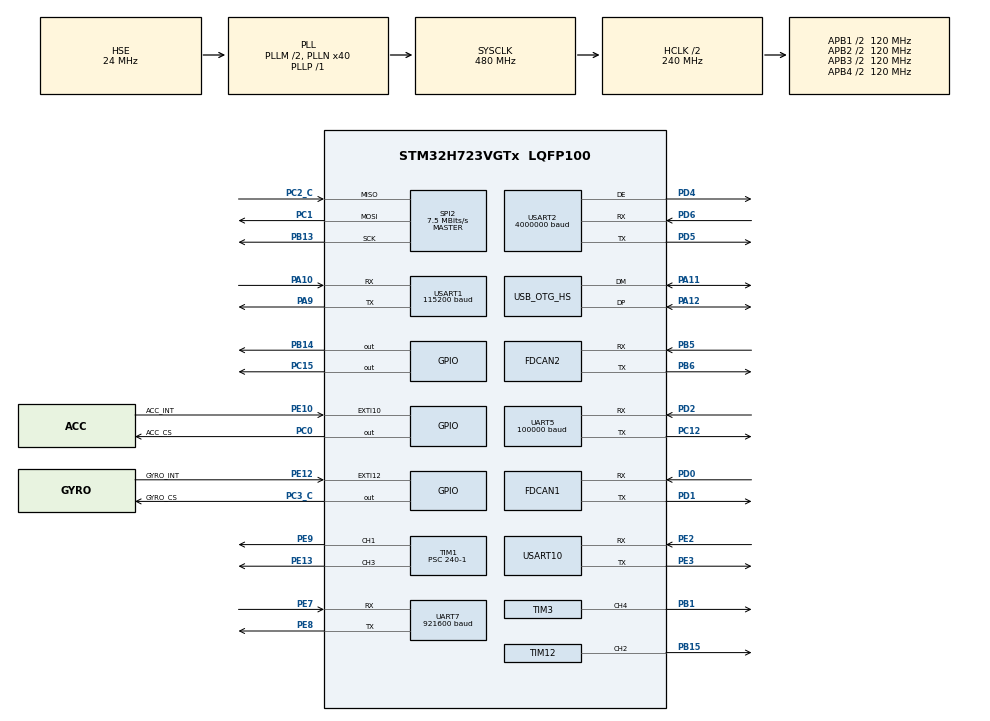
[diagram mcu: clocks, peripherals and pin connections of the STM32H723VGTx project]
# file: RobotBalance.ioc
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CORTEX_M7.default_mode_Activation=1
Dma.Request0=UART5_RX
Dma.Request1=UART7_RX
Dma.Request2=USART2_RX
Dma.Request3=SPI2_RX
Dma.Request4=SPI2_TX
Dma.Request5=USART10_RX
Dma.Request6=USART10_TX
Dma.Request7=USART1_RX
Dma.Request8=USART2_TX
Dma.SPI2_RX.3.Direction=DMA_PERIPH_TO_MEMORY
Dma.SPI2_RX.3.EventEnable=DISABLE
Dma.SPI2_RX.3.FIFOMode=DMA_FIFOMODE_DISABLE
Dma.SPI2_RX.3.Instance=DMA1_Stream0
Dma.SPI2_RX.3.MemDataAlignment=DMA_MDATAALIGN_BYTE
Dma.SPI2_RX.3.MemInc=DMA_MINC_ENABLE
Dma.SPI2_RX.3.Mode=DMA_NORMAL
Dma.SPI2_RX.3.PeriphDataAlignment=DMA_PDATAALIGN_BYTE
Dma.SPI2_RX.3.PeriphInc=DMA_PINC_DISABLE
Dma.SPI2_RX.3.Polarity=HAL_DMAMUX_REQ_GEN_RISING
Dma.SPI2_RX.3.Priority=DMA_PRIORITY_VERY_HIGH
Dma.SPI2_RX.3.RequestNumber=1
Dma.SPI2_RX.3.SignalID=NONE
Dma.SPI2_RX.3.SyncEnable=DISABLE
Dma.SPI2_RX.3.SyncPolarity=HAL_DMAMUX_SYNC_NO_EVENT
Dma.SPI2_RX.3.SyncRequestNumber=1
Dma.SPI2_RX.3.SyncSignalID=NONE
Dma.SPI2_TX.4.Direction=DMA_MEMORY_TO_PERIPH
Dma.SPI2_TX.4.EventEnable=DISABLE
Dma.SPI2_TX.4.FIFOMode=DMA_FIFOMODE_DISABLE
Dma.SPI2_TX.4.Instance=DMA1_Stream1
Dma.SPI2_TX.4.MemDataAlignment=DMA_MDATAALIGN_BYTE
Dma.SPI2_TX.4.MemInc=DMA_MINC_ENABLE
Dma.SPI2_TX.4.Mode=DMA_NORMAL
Dma.SPI2_TX.4.PeriphDataAlignment=DMA_PDATAALIGN_BYTE
Dma.SPI2_TX.4.PeriphInc=DMA_PINC_DISABLE
Dma.SPI2_TX.4.Polarity=HAL_DMAMUX_REQ_GEN_RISING
Dma.SPI2_TX.4.Priority=DMA_PRIORITY_HIGH
Dma.SPI2_TX.4.RequestNumber=1
Dma.SPI2_TX.4.SignalID=NONE
Dma.SPI2_TX.4.SyncEnable=DISABLE
Dma.SPI2_TX.4.SyncPolarity=HAL_DMAMUX_SYNC_NO_EVENT
Dma.SPI2_TX.4.SyncRequestNumber=1
Dma.SPI2_TX.4.SyncSignalID=NONE
Dma.UART5_RX.0.Direction=DMA_PERIPH_TO_MEMORY
Dma.UART5_RX.0.EventEnable=DISABLE
Dma.UART5_RX.0.FIFOMode=DMA_FIFOMODE_DISABLE
Dma.UART5_RX.0.Instance=DMA1_Stream3
Dma.UART5_RX.0.MemDataAlignment=DMA_MDATAALIGN_BYTE
Dma.UART5_RX.0.MemInc=DMA_MINC_ENABLE
Dma.UART5_RX.0.Mode=DMA_CIRCULAR
Dma.UART5_RX.0.PeriphDataAlignment=DMA_PDATAALIGN_BYTE
Dma.UART5_RX.0.PeriphInc=DMA_PINC_DISABLE
Dma.UART5_RX.0.Polarity=HAL_DMAMUX_REQ_GEN_RISING
Dma.UART5_RX.0.Priority=DMA_PRIORITY_VERY_HIGH
Dma.UART5_RX.0.RequestNumber=1
Dma.UART5_RX.0.SignalID=NONE
Dma.UART5_RX.0.SyncEnable=DISABLE
Dma.UART5_RX.0.SyncPolarity=HAL_DMAMUX_SYNC_NO_EVENT
Dma.UART5_RX.0.SyncRequestNumber=1
Dma.UART5_RX.0.SyncSignalID=NONE
Dma.UART7_RX.1.Direction=DMA_PERIPH_TO_MEMORY
Dma.UART7_RX.1.EventEnable=DISABLE
Dma.UART7_RX.1.FIFOMode=DMA_FIFOMODE_DISABLE
Dma.UART7_RX.1.Instance=DMA1_Stream4
Dma.UART7_RX.1.MemDataAlignment=DMA_MDATAALIGN_BYTE
Dma.UART7_RX.1.MemInc=DMA_MINC_ENABLE
Dma.UART7_RX.1.Mode=DMA_CIRCULAR
Dma.UART7_RX.1.PeriphDataAlignment=DMA_PDATAALIGN_BYTE
Dma.UART7_RX.1.PeriphInc=DMA_PINC_DISABLE
Dma.UART7_RX.1.Polarity=HAL_DMAMUX_REQ_GEN_RISING
Dma.UART7_RX.1.Priority=DMA_PRIORITY_VERY_HIGH
Dma.UART7_RX.1.RequestNumber=1
Dma.UART7_RX.1.SignalID=NONE
Dma.UART7_RX.1.SyncEnable=DISABLE
Dma.UART7_RX.1.SyncPolarity=HAL_DMAMUX_SYNC_NO_EVENT
Dma.UART7_RX.1.SyncRequestNumber=1
Dma.UART7_RX.1.SyncSignalID=NONE
Dma.USART10_RX.5.Direction=DMA_PERIPH_TO_MEMORY
Dma.USART10_RX.5.EventEnable=DISABLE
Dma.USART10_RX.5.FIFOMode=DMA_FIFOMODE_DISABLE
Dma.USART10_RX.5.Instance=DMA1_Stream6
Dma.USART10_RX.5.MemDataAlignment=DMA_MDATAALIGN_BYTE
Dma.USART10_RX.5.MemInc=DMA_MINC_ENABLE
Dma.USART10_RX.5.Mode=DMA_NORMAL
Dma.USART10_RX.5.PeriphDataAlignment=DMA_PDATAALIGN_BYTE
Dma.USART10_RX.5.PeriphInc=DMA_PINC_DISABLE
Dma.USART10_RX.5.Polarity=HAL_DMAMUX_REQ_GEN_RISING
Dma.USART10_RX.5.Priority=DMA_PRIORITY_HIGH
Dma.USART10_RX.5.RequestNumber=1
Dma.USART10_RX.5.SignalID=NONE
Dma.USART10_RX.5.SyncEnable=DISABLE
Dma.USART10_RX.5.SyncPolarity=HAL_DMAMUX_SYNC_NO_EVENT
Dma.USART10_RX.5.SyncRequestNumber=1
Dma.USART10_RX.5.SyncSignalID=NONE
Dma.USART10_TX.6.Direction=DMA_MEMORY_TO_PERIPH
Dma.USART10_TX.6.EventEnable=DISABLE
Dma.USART10_TX.6.FIFOMode=DMA_FIFOMODE_DISABLE
Dma.USART10_TX.6.Instance=DMA1_Stream7
Dma.USART10_TX.6.MemDataAlignment=DMA_MDATAALIGN_BYTE
Dma.USART10_TX.6.MemInc=DMA_MINC_ENABLE
Dma.USART10_TX.6.Mode=DMA_NORMAL
Dma.USART10_TX.6.PeriphDataAlignment=DMA_PDATAALIGN_BYTE
Dma.USART10_TX.6.PeriphInc=DMA_PINC_DISABLE
Dma.USART10_TX.6.Polarity=HAL_DMAMUX_REQ_GEN_RISING
Dma.USART10_TX.6.Priority=DMA_PRIORITY_HIGH
Dma.USART10_TX.6.RequestNumber=1
Dma.USART10_TX.6.SignalID=NONE
Dma.USART10_TX.6.SyncEnable=DISABLE
Dma.USART10_TX.6.SyncPolarity=HAL_DMAMUX_SYNC_NO_EVENT
Dma.USART10_TX.6.SyncRequestNumber=1
Dma.USART10_TX.6.SyncSignalID=NONE
Dma.USART1_RX.7.Direction=DMA_PERIPH_TO_MEMORY
Dma.USART1_RX.7.EventEnable=DISABLE
Dma.USART1_RX.7.FIFOMode=DMA_FIFOMODE_DISABLE
Dma.USART1_RX.7.Instance=DMA2_Stream0
Dma.USART1_RX.7.MemDataAlignment=DMA_MDATAALIGN_BYTE
Dma.USART1_RX.7.MemInc=DMA_MINC_ENABLE
Dma.USART1_RX.7.Mode=DMA_NORMAL
Dma.USART1_RX.7.PeriphDataAlignment=DMA_PDATAALIGN_BYTE
Dma.USART1_RX.7.PeriphInc=DMA_PINC_DISABLE
Dma.USART1_RX.7.Polarity=HAL_DMAMUX_REQ_GEN_RISING
Dma.USART1_RX.7.Priority=DMA_PRIORITY_HIGH
Dma.USART1_RX.7.RequestNumber=1
Dma.USART1_RX.7.SignalID=NONE
Dma.USART1_RX.7.SyncEnable=DISABLE
Dma.USART1_RX.7.SyncPolarity=HAL_DMAMUX_SYNC_NO_EVENT
Dma.USART1_RX.7.SyncRequestNumber=1
Dma.USART1_RX.7.SyncSignalID=NONE
Dma.USART2_RX.2.Direction=DMA_PERIPH_TO_MEMORY
Dma.USART2_RX.2.EventEnable=DISABLE
Dma.USART2_RX.2.FIFOMode=DMA_FIFOMODE_DISABLE
Dma.USART2_RX.2.Instance=DMA1_Stream2
Dma.USART2_RX.2.MemDataAlignment=DMA_MDATAALIGN_BYTE
Dma.USART2_RX.2.MemInc=DMA_MINC_ENABLE
Dma.USART2_RX.2.Mode=DMA_NORMAL
Dma.USART2_RX.2.PeriphDataAlignment=DMA_PDATAALIGN_BYTE
Dma.USART2_RX.2.PeriphInc=DMA_PINC_DISABLE
Dma.USART2_RX.2.Polarity=HAL_DMAMUX_REQ_GEN_RISING
Dma.USART2_RX.2.Priority=DMA_PRIORITY_VERY_HIGH
Dma.USART2_RX.2.RequestNumber=1
Dma.USART2_RX.2.SignalID=NONE
Dma.USART2_RX.2.SyncEnable=DISABLE
Dma.USART2_RX.2.SyncPolarity=HAL_DMAMUX_SYNC_NO_EVENT
Dma.USART2_RX.2.SyncRequestNumber=1
Dma.USART2_RX.2.SyncSignalID=NONE
Dma.USART2_TX.8.Direction=DMA_MEMORY_TO_PERIPH
Dma.USART2_TX.8.EventEnable=DISABLE
Dma.USART2_TX.8.FIFOMode=DMA_FIFOMODE_DISABLE
Dma.USART2_TX.8.Instance=DMA1_Stream5
Dma.USART2_TX.8.MemDataAlignment=DMA_MDATAALIGN_BYTE
Dma.USART2_TX.8.MemInc=DMA_MINC_ENABLE
Dma.USART2_TX.8.Mode=DMA_NORMAL
Dma.USART2_TX.8.PeriphDataAlignment=DMA_PDATAALIGN_BYTE
Dma.USART2_TX.8.PeriphInc=DMA_PINC_DISABLE
Dma.USART2_TX.8.Polarity=HAL_DMAMUX_REQ_GEN_RISING
Dma.USART2_TX.8.Priority=DMA_PRIORITY_HIGH
Dma.USART2_TX.8.RequestNumber=1
Dma.USART2_TX.8.SignalID=NONE
Dma.USART2_TX.8.SyncEnable=DISABLE
Dma.USART2_TX.8.SyncPolarity=HAL_DMAMUX_SYNC_NO_EVENT
Dma.USART2_TX.8.SyncRequestNumber=1
Dma.USART2_TX.8.SyncSignalID=NONE
FDCAN1.CalculateBaudRateNominal=1000000
FDCAN1.CalculateTimeBitNominal=1000
FDCAN1.CalculateTimeQuantumNominal=200.0
FDCAN1.NominalPrescaler=24
FDCAN1.RxFifo0ElmtsNbr=32
FDCAN1.StdFiltersNbr=1
FDCAN1.TxFifoQueueElmtsNbr=32
FDCAN2.CalculateBaudRateNominal=1000000
FDCAN2.CalculateTimeBitNominal=1000
FDCAN2.CalculateTimeQuantumNominal=200.0
FDCAN2.MessageRAMOffset=0x406
FDCAN2.NominalPrescaler=24
FDCAN2.RxFifo0ElmtsNbr=32
FDCAN2.StdFiltersNbr=1
FDCAN2.TxFifoQueueElmtsNbr=32
FREERTOS.Tasks01=defaultTask,24,128,StartDefaultTask,Default,NULL,Dynamic,NULL,NULL;MotorTask,40,512,Motor_Task,As weak,NULL,Dynamic,NULL,NULL;ChassisTask,40,512,Chassis_Task,As weak,NULL,Dynamic,NULL,NULL;IMUTask,40,512,IMU_Task,As weak,NULL,Dynamic,NULL,NULL;UITask,16,512,UI_Task,As weak,NULL,Dynamic,NULL,NULL;VisionTASK,16,512,Vision_TASK,As weak,NULL,Dynamic,NULL,NULL;GimbalTask,40,512,Gimbal_Task,As weak,NULL,Dynamic,NULL,NULL
FREERTOS.configGENERATE_RUN_TIME_STATS=1
FREERTOS.configUSE_STATS_FORMATTING_FUNCTIONS=1
Mcu.Family=STM32H7
Mcu.Name=STM32H723VGTx
Mcu.Package=LQFP100
NVIC.DMA1_Stream0_IRQn=true\:5\:0\:false\:false\:true\:true\:false\:true\:true
NVIC.DMA1_Stream1_IRQn=true\:5\:0\:false\:false\:true\:true\:false\:true\:true
NVIC.DMA1_Stream2_IRQn=true\:5\:0\:false\:false\:true\:true\:false\:true\:true
NVIC.DMA1_Stream3_IRQn=true\:5\:0\:false\:false\:true\:true\:false\:true\:true
NVIC.DMA1_Stream4_IRQn=true\:5\:0\:false\:false\:true\:true\:false\:true\:true
NVIC.DMA1_Stream5_IRQn=true\:5\:0\:false\:false\:true\:true\:false\:true\:true
NVIC.DMA1_Stream6_IRQn=true\:5\:0\:false\:false\:true\:true\:false\:true\:true
NVIC.DMA1_Stream7_IRQn=true\:5\:0\:false\:false\:true\:true\:false\:true\:true
NVIC.DMA2_Stream0_IRQn=true\:5\:0\:false\:false\:true\:true\:false\:true\:true
NVIC.FDCAN1_IT0_IRQn=true\:5\:0\:false\:false\:true\:true\:true\:true\:true
NVIC.FDCAN2_IT0_IRQn=true\:5\:0\:false\:false\:true\:true\:true\:true\:true
NVIC.OTG_HS_IRQn=true\:5\:0\:false\:false\:true\:true\:true\:true\:true
NVIC.PriorityGroup=NVIC_PRIORITYGROUP_4
NVIC.SPI2_IRQn=true\:5\:0\:false\:false\:true\:true\:false\:true\:true
NVIC.TIM2_IRQn=true\:5\:0\:false\:false\:true\:true\:true\:true\:true
NVIC.TIM8_UP_TIM13_IRQn=true\:15\:0\:false\:false\:true\:false\:false\:true\:true
NVIC.TimeBase=TIM8_UP_TIM13_IRQn
NVIC.TimeBaseIP=TIM8
NVIC.UART5_IRQn=true\:5\:0\:false\:false\:true\:true\:true\:true\:true
NVIC.UART7_IRQn=true\:5\:0\:false\:false\:true\:true\:true\:true\:true
NVIC.USART10_IRQn=true\:5\:0\:false\:false\:true\:true\:true\:true\:true
NVIC.USART1_IRQn=true\:5\:0\:false\:false\:true\:true\:true\:true\:true
NVIC.USART2_IRQn=true\:5\:0\:true\:false\:true\:true\:true\:true\:true
PA10.GPIO_Speed=GPIO_SPEED_FREQ_VERY_HIGH
PA10.Mode=Asynchronous
PA10.Signal=USART1_RX
PA11.Mode=Device_Only_FS
PA11.Signal=USB_OTG_HS_DM
PA12.Mode=Device_Only_FS
PA12.Signal=USB_OTG_HS_DP
PA13(JTMS/SWDIO).Mode=Serial_Wire
PA13(JTMS/SWDIO).Signal=DEBUG_JTMS-SWDIO
PA14(JTCK/SWCLK).Mode=Serial_Wire
PA14(JTCK/SWCLK).Signal=DEBUG_JTCK-SWCLK
PA9.GPIO_Speed=GPIO_SPEED_FREQ_VERY_HIGH
PA9.Mode=Asynchronous
PA9.Signal=USART1_TX
PB1.Signal=S_TIM3_CH4
PB13.GPIO_Speed=GPIO_SPEED_FREQ_VERY_HIGH
PB13.Mode=Full_Duplex_Master
PB13.Signal=SPI2_SCK
PB14.Signal=GPIO_Output
PB15.Signal=S_TIM12_CH2
PB5.Mode=FDCAN_Activate
PB5.Signal=FDCAN2_RX
PB6.Mode=FDCAN_Activate
PB6.Signal=FDCAN2_TX
PC0.GPIO_Label=ACC_CS
PC0.GPIO_Speed=GPIO_SPEED_FREQ_VERY_HIGH
PC0.PinState=GPIO_PIN_SET
PC0.Signal=GPIO_Output
PC1.GPIO_Speed=GPIO_SPEED_FREQ_VERY_HIGH
PC1.Mode=Full_Duplex_Master
PC1.Signal=SPI2_MOSI
PC12.Mode=Multiprocessor_communication
PC12.Signal=UART5_TX
PC15-OSC32_OUT.PinState=GPIO_PIN_SET
PC15-OSC32_OUT.Signal=GPIO_Output
PC2_C.GPIO_Speed=GPIO_SPEED_FREQ_VERY_HIGH
PC2_C.Mode=Full_Duplex_Master
PC2_C.Signal=SPI2_MISO
PC3_C.GPIO_Label=GYRO_CS
PC3_C.GPIO_Speed=GPIO_SPEED_FREQ_VERY_HIGH
PC3_C.PinState=GPIO_PIN_SET
PC3_C.Signal=GPIO_Output
PD0.Mode=FDCAN_Activate
PD0.Signal=FDCAN1_RX
PD1.Mode=FDCAN_Activate
PD1.Signal=FDCAN1_TX
PD2.GPIO_PuPd=GPIO_PULLUP
PD2.GPIO_Speed=GPIO_SPEED_FREQ_VERY_HIGH
PD2.Mode=Multiprocessor_communication
PD2.Signal=UART5_RX
PD4.GPIO_Speed=GPIO_SPEED_FREQ_VERY_HIGH
PD4.Mode=Hardware Flow Control (RS485)
PD4.Signal=USART2_DE
PD5.GPIO_Speed=GPIO_SPEED_FREQ_VERY_HIGH
PD5.Mode=Asynchronous
PD5.Signal=USART2_TX
PD6.GPIO_Speed=GPIO_SPEED_FREQ_VERY_HIGH
PD6.Mode=Asynchronous
PD6.Signal=USART2_RX
PE10.GPIO_Label=ACC_INT
PE10.Signal=GPXTI10
PE12.GPIO_Label=GYRO_INT
PE12.Signal=GPXTI12
PE13.GPIO_PuPd=GPIO_NOPULL
PE13.GPIO_Speed=GPIO_SPEED_FREQ_LOW
PE13.Signal=S_TIM1_CH3
PE2.GPIO_Speed=GPIO_SPEED_FREQ_VERY_HIGH
PE2.Mode=Asynchronous
PE2.Signal=USART10_RX
PE3.GPIO_Speed=GPIO_SPEED_FREQ_VERY_HIGH
PE3.Mode=Asynchronous
PE3.Signal=USART10_TX
PE7.GPIO_PuPd=GPIO_PULLUP
PE7.GPIO_Speed=GPIO_SPEED_FREQ_VERY_HIGH
PE7.Mode=Asynchronous
PE7.Signal=UART7_RX
PE8.GPIO_Speed=GPIO_SPEED_FREQ_VERY_HIGH
PE8.Mode=Asynchronous
PE8.Signal=UART7_TX
PE9.GPIO_PuPd=GPIO_NOPULL
PE9.GPIO_Speed=GPIO_SPEED_FREQ_LOW
PE9.Signal=S_TIM1_CH1
PH0-OSC_IN.Mode=HSE-External-Oscillator
PH0-OSC_IN.Signal=RCC_OSC_IN
PH1-OSC_OUT.Mode=HSE-External-Oscillator
PH1-OSC_OUT.Signal=RCC_OSC_OUT
ProjectManager.HeapSize=0x2000
ProjectManager.StackSize=0x4000
ProjectManager.TargetToolchain=MDK-ARM V5.32
RCC.ADCFreq_Value=48375000
RCC.APB1Freq_Value=120000000
RCC.APB2Freq_Value=120000000
RCC.APB3Freq_Value=120000000
RCC.APB4Freq_Value=120000000
RCC.CortexFreq_Value=480000000
RCC.D1PPRE=RCC_APB3_DIV2
RCC.D2PPRE1=RCC_APB1_DIV2
RCC.D2PPRE2=RCC_APB2_DIV2
RCC.D3PPRE=RCC_APB4_DIV2
RCC.DIVM1=2
RCC.DIVN1=40
RCC.DIVP1=1
RCC.DIVQ1=4
RCC.HCLKFreq_Value=240000000
RCC.HPRE=RCC_HCLK_DIV2
RCC.HSE_VALUE=24000000
RCC.PLLSourceVirtual=RCC_PLLSOURCE_HSE
RCC.SYSCLKFreq_VALUE=480000000
RCC.SYSCLKSource=RCC_SYSCLKSOURCE_PLLCLK
RCC.USBCLockSelection=RCC_USBCLKSOURCE_HSI48
RCC.USBFreq_Value=48000000
SH.S_TIM12_CH2.0=TIM12_CH2,PWM Generation2 CH2
SH.S_TIM1_CH1.0=TIM1_CH1,PWM Generation1 CH1
SH.S_TIM1_CH3.0=TIM1_CH3,PWM Generation3 CH3
SH.S_TIM3_CH4.0=TIM3_CH4,PWM Generation4 CH4
SPI2.BaudRatePrescaler=SPI_BAUDRATEPRESCALER_16
SPI2.CLKPhase=SPI_PHASE_2EDGE
SPI2.CLKPolarity=SPI_POLARITY_HIGH
SPI2.CalculateBaudRate=7.5 MBits/s
SPI2.DataSize=SPI_DATASIZE_8BIT
SPI2.Direction=SPI_DIRECTION_2LINES
SPI2.Mode=SPI_MODE_MASTER
SPI2.VirtualType=VM_MASTER
STMicroelectronics.X-CUBE-ALGOBUILD.1.3.0.LibraryCcDSPOoLibraryJjDSPOoLibrary=true
TIM1.Channel-PWM\ Generation1\ CH1=TIM_CHANNEL_1
TIM1.Channel-PWM\ Generation3\ CH3=TIM_CHANNEL_3
TIM1.Period=20000-1
TIM1.Prescaler=240-1
TIM1.Pulse-PWM\ Generation1\ CH1=888
TIM1.Pulse-PWM\ Generation3\ CH3=1111
TIM12.Channel-PWM\ Generation2\ CH2=TIM_CHANNEL_2
TIM12.Period=2000-1
TIM12.Prescaler=24-1
TIM12.Pulse-PWM\ Generation2\ CH2=1000
TIM2.AutoReloadPreload=TIM_AUTORELOAD_PRELOAD_ENABLE
TIM2.Period=99
TIM2.Prescaler=479
TIM3.AutoReloadPreload=TIM_AUTORELOAD_PRELOAD_ENABLE
TIM3.Channel-PWM\ Generation4\ CH4=TIM_CHANNEL_4
TIM3.Period=10000-1
TIM3.Prescaler=24-1
UART5.BaudRate=100000
UART5.Parity=PARITY_EVEN
UART5.StopBits=UART_STOPBITS_2
UART5.WordLength=WORDLENGTH_9B
UART7.BaudRate=921600
USART1.BaudRate=115200
USART1.VirtualMode-Asynchronous=VM_ASYNC
USART10.VirtualMode=VM_ASYNC
USART2.BaudRate=4000000
USART2.OverSampling=UART_OVERSAMPLING_16
USART2.VirtualMode-Asynchronous=VM_ASYNC
USART2.VirtualMode-Hardware\ Flow\ Control\ (RS485)=VM_ASYNC
USB_DEVICE.CLASS_NAME_HS=CDC
USB_DEVICE.VirtualMode=Cdc
USB_DEVICE.VirtualModeHS=Cdc_HS
USB_OTG_HS.VirtualMode-Device_Only_FS=Device_Only_FS
VP_FREERTOS_VS_CMSIS_V2.Mode=CMSIS_V2
VP_MEMORYMAP_VS_MEMORYMAP.Mode=CurAppReg
VP_STMicroelectronics.X-CUBE-ALGOBUILD_VS_DSPOoLibraryJjLibrary_1.3.0_1.3.0.Mode=DSPOoLibraryJjLibrary
VP_SYS_VS_tim8.Mode=TIM8
VP_TIM2_VS_ClockSourceINT.Mode=Internal
VP_USB_DEVICE_VS_USB_DEVICE_CDC_HS.Mode=CDC_HS
board=custom

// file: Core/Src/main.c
/* USER CODE BEGIN Header */
/**
  ******************************************************************************
  * @file           : main.c
  * @brief          : Main program body
  ******************************************************************************
  * @attention
  *
  * Copyright (c) 2024 STMicroelectronics.
  * All rights reserved.
  *
  * This software is licensed under terms that can be found in the LICENSE file
  * in the root directory of this software component.
  * If no LICENSE file comes with this software, it is provided AS-IS.
  *
  ******************************************************************************
  */
/* USER CODE END Header */
#include "main.h"
#include "cmsis_os.h"
#include "dma.h"
#include "fdcan.h"
#include "memorymap.h"
#include "spi.h"
#include "tim.h"
#include "usart.h"
#include "usb_device.h"
#include "gpio.h"

void SystemClock_Config(void);
static void MPU_Config(void);
void MX_FREERTOS_Init(void);

int main(void)
{

  /* MPU Configuration--------------------------------------------------------*/
  MPU_Config();

  /* MCU Configuration--------------------------------------------------------*/

  /* Reset of all peripherals, Initializes the Flash interface and the Systick. */
  HAL_Init();

  /* Configure the system clock */
  SystemClock_Config();

  /* Initialize all configured peripherals */
  MX_GPIO_Init();
  MX_DMA_Init();
  MX_FDCAN2_Init();
  MX_USART2_UART_Init();
  MX_TIM12_Init();
  MX_USART1_UART_Init();
  MX_TIM2_Init();
  MX_UART5_Init();
  MX_FDCAN1_Init();
  MX_UART7_Init();
  MX_SPI2_Init();
  MX_TIM3_Init();
  MX_USART10_UART_Init();
  MX_TIM1_Init();
  /* USER CODE BEGIN 2 */
  BspUart_Init();
  MX_USB_DEVICE_Init();
	can_bsp_init();
	DWT_Init(480);
  Servo_Init();

  while (BMI088_init(&hspi2, 0) != BMI088_NO_ERROR)
	{
	  ;
	}

	Start_LED_remind();
	Start_Buzzer_remind();

  Close_Hatch();
 while((RC_Rx.CH1>-550)||(RC_Rx.CH3>-550))
	HAL_Delay(5);
	while(!((RC_Rx.CH1==0)&&(RC_Rx.CH3==0)))
	HAL_Delay(5);

  Start_Buzzer_remind();
  /* USER CODE END 2 */

  /* Init scheduler */
  osKernelInitialize();

  /* Call init function for freertos objects (in cmsis_os2.c) */
  MX_FREERTOS_Init();

  /* Start scheduler */
  osKernelStart();

  /* We should never get here as control is now taken by the scheduler */

  /* Infinite loop */
  while (1)
  {

  }
}

void SystemClock_Config(void)
{
  RCC_OscInitTypeDef RCC_OscInitStruct = {0};
  RCC_ClkInitTypeDef RCC_ClkInitStruct = {0};

  /** Supply configuration update enable
  */
  HAL_PWREx_ConfigSupply(PWR_LDO_SUPPLY);

  /** Configure the main internal regulator output voltage
  */
  __HAL_PWR_VOLTAGESCALING_CONFIG(PWR_REGULATOR_VOLTAGE_SCALE0);

  while(!__HAL_PWR_GET_FLAG(PWR_FLAG_VOSRDY)) {}

  /** Initializes the RCC Oscillators according to the specified parameters
  * in the RCC_OscInitTypeDef structure.
  */
  RCC_OscInitStruct.OscillatorType = RCC_OSCILLATORTYPE_HSI48|RCC_OSCILLATORTYPE_HSE;
  RCC_OscInitStruct.HSEState = RCC_HSE_ON;
  RCC_OscInitStruct.HSI48State = RCC_HSI48_ON;
  RCC_OscInitStruct.PLL.PLLState = RCC_PLL_ON;
  RCC_OscInitStruct.PLL.PLLSource = RCC_PLLSOURCE_HSE;
  RCC_OscInitStruct.PLL.PLLM = 2;
  RCC_OscInitStruct.PLL.PLLN = 40;
  RCC_OscInitStruct.PLL.PLLP = 1;
  RCC_OscInitStruct.PLL.PLLQ = 4;
  RCC_OscInitStruct.PLL.PLLR = 2;
  RCC_OscInitStruct.PLL.PLLRGE = RCC_PLL1VCIRANGE_3;
  RCC_OscInitStruct.PLL.PLLVCOSEL = RCC_PLL1VCOWIDE;
  RCC_OscInitStruct.PLL.PLLFRACN = 0;
  if (HAL_RCC_OscConfig(&RCC_OscInitStruct) != HAL_OK)
  {
    Error_Handler();
  }

  /** Initializes the CPU, AHB and APB buses clocks
  */
  RCC_ClkInitStruct.ClockType = RCC_CLOCKTYPE_HCLK|RCC_CLOCKTYPE_SYSCLK
                              |RCC_CLOCKTYPE_PCLK1|RCC_CLOCKTYPE_PCLK2
                              |RCC_CLOCKTYPE_D3PCLK1|RCC_CLOCKTYPE_D1PCLK1;
  RCC_ClkInitStruct.SYSCLKSource = RCC_SYSCLKSOURCE_PLLCLK;
  RCC_ClkInitStruct.SYSCLKDivider = RCC_SYSCLK_DIV1;
  RCC_ClkInitStruct.AHBCLKDivider = RCC_HCLK_DIV2;
  RCC_ClkInitStruct.APB3CLKDivider = RCC_APB3_DIV2;
  RCC_ClkInitStruct.APB1CLKDivider = RCC_APB1_DIV2;
  RCC_ClkInitStruct.APB2CLKDivider = RCC_APB2_DIV2;
  RCC_ClkInitStruct.APB4CLKDivider = RCC_APB4_DIV2;

  if (HAL_RCC_ClockConfig(&RCC_ClkInitStruct, FLASH_LATENCY_3) != HAL_OK)
  {
    Error_Handler();
  }
}

/* USER CODE BEGIN 4 */
uint32_t g_osRuntimeCounter;
/* USER CODE END 4 */

 /* MPU Configuration */

void MPU_Config(void)
{
  MPU_Region_InitTypeDef MPU_InitStruct = {0};

  /* Disables the MPU */
  HAL_MPU_Disable();

  /** Initializes and configures the Region and the memory to be protected
  */
  MPU_InitStruct.Enable = MPU_REGION_ENABLE;
  MPU_InitStruct.Number = MPU_REGION_NUMBER0;
  MPU_InitStruct.BaseAddress = 0x0;
  MPU_InitStruct.Size = MPU_REGION_SIZE_4GB;
  MPU_InitStruct.SubRegionDisable = 0x87;
  MPU_InitStruct.TypeExtField = MPU_TEX_LEVEL0;
  MPU_InitStruct.AccessPermission = MPU_REGION_NO_ACCESS;
  MPU_InitStruct.DisableExec = MPU_INSTRUCTION_ACCESS_DISABLE;
  MPU_InitStruct.IsShareable = MPU_ACCESS_SHAREABLE;
  MPU_InitStruct.IsCacheable = MPU_ACCESS_NOT_CACHEABLE;
  MPU_InitStruct.IsBufferable = MPU_ACCESS_NOT_BUFFERABLE;

  HAL_MPU_ConfigRegion(&MPU_InitStruct);
  /* Enables the MPU */
  HAL_MPU_Enable(MPU_PRIVILEGED_DEFAULT);

}

void HAL_TIM_PeriodElapsedCallback(TIM_HandleTypeDef *htim)
{
  if (htim->Instance == TIM8) {
    HAL_IncTick();
  }
  /* USER CODE BEGIN Callback 1 */
  if (htim->Instance == TIM2) {
    g_osRuntimeCounter++;
  }
  /* USER CODE END Callback 1 */
}

void Error_Handler(void)
{
  __disable_irq();
  while (1)
  {
  }
}

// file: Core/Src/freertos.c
/* USER CODE BEGIN Header */
/**
  ******************************************************************************
  * File Name          : freertos.c
  * Description        : Code for freertos applications
  ******************************************************************************
  * @attention
  *
  * Copyright (c) 2024 STMicroelectronics.
  * All rights reserved.
  *
  * This software is licensed under terms that can be found in the LICENSE file
  * in the root directory of this software component.
  * If no LICENSE file comes with this software, it is provided AS-IS.
  *
  ******************************************************************************
  */
/* USER CODE END Header */

#include "FreeRTOS.h"
#include "task.h"
#include "main.h"
#include "cmsis_os.h"

/* Definitions for defaultTask */
osThreadId_t defaultTaskHandle;
const osThreadAttr_t defaultTask_attributes = {
  .name = "defaultTask",
  .stack_size = 128 * 4,
  .priority = (osPriority_t) osPriorityNormal,
};
/* Definitions for MotorTask */
osThreadId_t MotorTaskHandle;
const osThreadAttr_t MotorTask_attributes = {
  .name = "MotorTask",
  .stack_size = 512 * 4,
  .priority = (osPriority_t) osPriorityHigh,
};
/* Definitions for ChassisTask */
osThreadId_t ChassisTaskHandle;
const osThreadAttr_t ChassisTask_attributes = {
  .name = "ChassisTask",
  .stack_size = 512 * 4,
  .priority = (osPriority_t) osPriorityHigh,
};
/* Definitions for IMUTask */
osThreadId_t IMUTaskHandle;
const osThreadAttr_t IMUTask_attributes = {
  .name = "IMUTask",
  .stack_size = 512 * 4,
  .priority = (osPriority_t) osPriorityHigh,
};
/* Definitions for UITask */
osThreadId_t UITaskHandle;
const osThreadAttr_t UITask_attributes = {
  .name = "UITask",
  .stack_size = 512 * 4,
  .priority = (osPriority_t) osPriorityBelowNormal,
};
/* Definitions for VisionTASK */
osThreadId_t VisionTASKHandle;
const osThreadAttr_t VisionTASK_attributes = {
  .name = "VisionTASK",
  .stack_size = 512 * 4,
  .priority = (osPriority_t) osPriorityBelowNormal,
};
/* Definitions for GimbalTask */
osThreadId_t GimbalTaskHandle;
const osThreadAttr_t GimbalTask_attributes = {
  .name = "GimbalTask",
  .stack_size = 512 * 4,
  .priority = (osPriority_t) osPriorityHigh,
};

void StartDefaultTask(void *argument);
void Motor_Task(void *argument);
void Chassis_Task(void *argument);
void IMU_Task(void *argument);
void UI_Task(void *argument);
void Vision_TASK(void *argument);
void Gimbal_Task(void *argument);

extern void MX_USB_DEVICE_Init(void);
void MX_FREERTOS_Init(void); /* (MISRA C 2004 rule 8.1) */

/* Hook prototypes */
void configureTimerForRunTimeStats(void);
unsigned long getRunTimeCounterValue(void);

/* USER CODE BEGIN 1 */
/* Functions needed when configGENERATE_RUN_TIME_STATS is on */
__weak void configureTimerForRunTimeStats(void)
{
 g_osRuntimeCounter=0;
}

__weak unsigned long getRunTimeCounterValue(void)
{
return g_osRuntimeCounter;
}
/* USER CODE END 1 */

void MX_FREERTOS_Init(void) {

  /* Create the thread(s) */
  /* creation of defaultTask */
  defaultTaskHandle = osThreadNew(StartDefaultTask, NULL, &defaultTask_attributes);

  /* creation of MotorTask */
  MotorTaskHandle = osThreadNew(Motor_Task, NULL, &MotorTask_attributes);

  /* creation of ChassisTask */
  ChassisTaskHandle = osThreadNew(Chassis_Task, NULL, &ChassisTask_attributes);

  /* creation of IMUTask */
  IMUTaskHandle = osThreadNew(IMU_Task, NULL, &IMUTask_attributes);

  /* creation of UITask */
  UITaskHandle = osThreadNew(UI_Task, NULL, &UITask_attributes);

  /* creation of VisionTASK */
  VisionTASKHandle = osThreadNew(Vision_TASK, NULL, &VisionTASK_attributes);

  /* creation of GimbalTask */
  GimbalTaskHandle = osThreadNew(Gimbal_Task, NULL, &GimbalTask_attributes);

}

void StartDefaultTask(void *argument)
{
  /* init code for USB_DEVICE */
  MX_USB_DEVICE_Init();
  for(;;)
  {
    osDelay(1);
  }
}

__weak void Motor_Task(void *argument)
{
  for(;;)
  {
    osDelay(1);
  }
}

__weak void Chassis_Task(void *argument)
{
  for(;;)
  {
    osDelay(1);
  }
}

__weak void IMU_Task(void *argument)
{
  for(;;)
  {
    osDelay(1);
  }
}

__weak void UI_Task(void *argument)
{
  for(;;)
  {
    osDelay(1);
  }
}

__weak void Vision_TASK(void *argument)
{
  for(;;)
  {
    osDelay(1);
  }
}

__weak void Gimbal_Task(void *argument)
{
  for(;;)
  {
    osDelay(1);
  }
}
